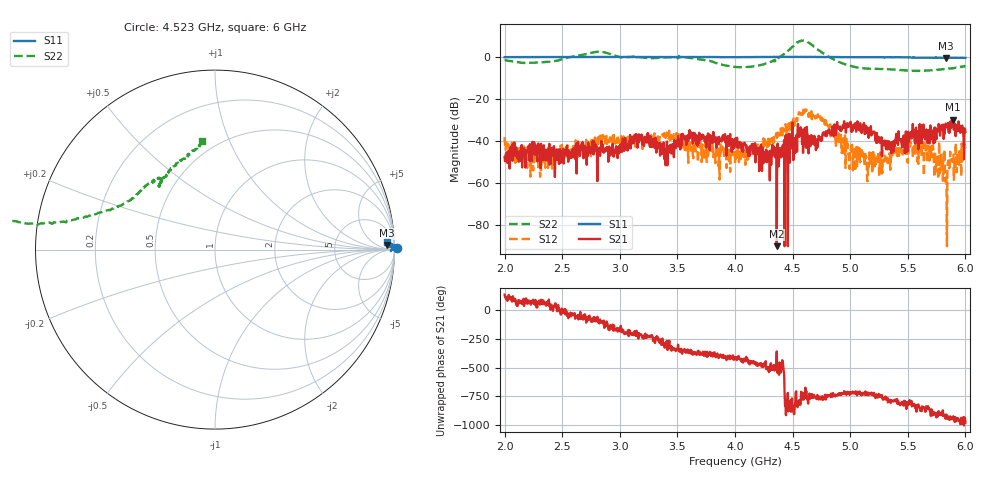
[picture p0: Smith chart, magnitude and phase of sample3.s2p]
!Output generated by mRS VNA Controller.
!Dual Port Reading
# Hz S dB R 50
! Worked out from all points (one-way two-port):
!   1000 points, 2 GHz to 6 GHz, reference 50 ohm
!   highest |S21| = -29.76 dB at 5.892 GHz (marker M1); lowest = -90.0 dB at 4.362 GHz (marker M2)
!   lowest |S11| = -0.4 dB at 5.832 GHz (marker M3), VSWR 44.78, Z = 1.71e+03 + j949 ohm
!   |S11| at or under -10 dB: nowhere
!   |S22| runs from -6.6 to 7.9 dB; largest |S21 - S12| = 0.065
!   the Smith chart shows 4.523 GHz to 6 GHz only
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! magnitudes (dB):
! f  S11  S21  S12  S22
! 2 GHz  0.0  -47.6  -38.1  -1.4
! 2.312 GHz  0.0  -52.9  -48.7  -2.5
! 2.669 GHz  0.0  -42.1  -41.4  1.0
! 2.933 GHz  0.1  -45.7  -38.7  1.2
! 3.125 GHz  0.1  -40.2  -38.8  0.2
! 3.337 GHz  0.0  -43.2  -38.0  -0.3
! 3.61 GHz  0.1  -38.6  -40.7  -0.4
! 4.002 GHz  0.0  -39.3  -50.6  -4.7
! 4.362 GHz  0.1  -90.0  -38.5  -0.8
! 4.406 GHz  0.1  -46.6  -35.2  0.7
! 4.45 GHz  0.1  -48.5  -34.2  2.4
! 4.482 GHz  0.1  -40.0  -31.3  4.1
! 4.563 GHz  0.1  -35.6  -26.5  7.6
! 4.671 GHz  0.1  -39.1  -27.1  5.6
! 4.979 GHz  0.0  -31.4  -43.1  -3.8
! 5.163 GHz  0.0  -36.0  -49.8  -5.5
! 5.335 GHz  0.0  -40.0  -48.2  -5.7
! 5.375 GHz  -0.1  -45.0  -43.1  -5.9
! 5.616 GHz  -0.2  -32.4  -41.1  -6.5
! 5.832 GHz  -0.4  -33.1  -56.1  -5.6
! 5.892 GHz  -0.3  -29.8  -48.5  -5.4
! 6 GHz  -0.4  -35.7  -43.3  -4.3
